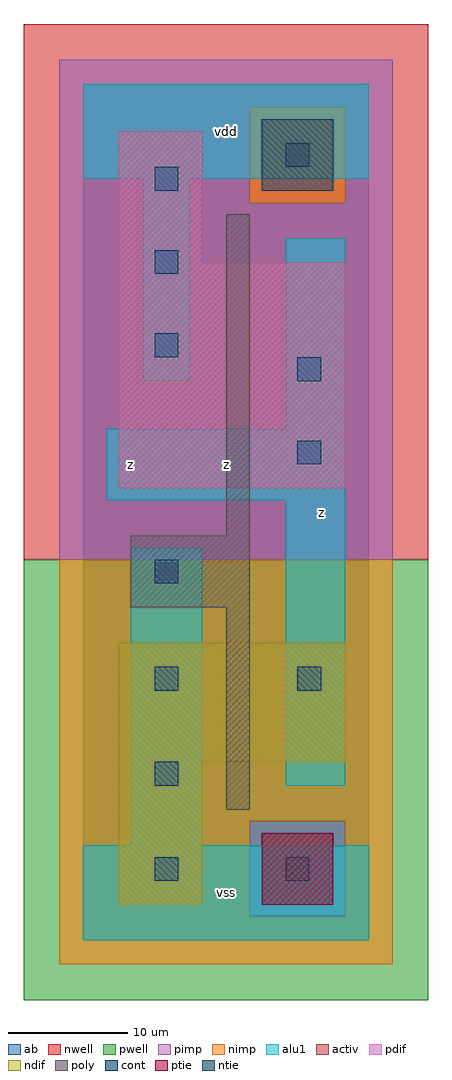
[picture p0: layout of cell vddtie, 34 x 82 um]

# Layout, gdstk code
import gdstk
lib = gdstk.Library(unit=1e-6, precision=1e-09)
def R(c, l, rs):  # rectangles x0, y0, x1, y1
    for r in rs: c.add(gdstk.rectangle(r[:2], r[2:], *l))
def A(c, l, x, y, w, h, nx, ny, dx, dy):  # array of equal rectangles
    R(c, l, [(x+i*dx, y+j*dy, x+i*dx+w, y+j*dy+h) for i in range(nx) for j in range(ny)])
ndif = (3, 0)
pdif = (4, 0)
ntie = (5, 0)
ptie = (6, 0)
cont = (25, 0)
pwell = (41, 0)
nwell = (42, 0)
activ = (43, 0)
pimp = (44, 0)
nimp = (45, 0)
poly = (46, 0)
alu1 = (49, 0)
ab = (63, 0)

vddtie = lib.new_cell('vddtie')
R(vddtie, ndif, [(3,3,10,15), (3,15,22,25)])
R(vddtie, pdif, [(3,38,22,57), (3,57,10,68)])
R(vddtie, ntie, [(15,63,21,69)])
R(vddtie, ptie, [(15,3,21,9)])
A(vddtie, cont, 6, 5, 2, 2, 1, 3, 0, 8)
A(vddtie, cont, 6, 49, 2, 2, 1, 3, 0, 7)
R(vddtie, cont, [(17,5,19,7), (18,21,20,23), (6,30,8,32), (18,40,20,42), (18,47,20,49), (17,65,19,67)])
R(vddtie, pwell, [(-5,-5,29,32)])
R(vddtie, nwell, [(-5,32,29,77)])
R(vddtie, activ, [(3,3,10,15), (15,3,21,9), (3,15,22,25), (3,38,22,57), (3,57,10,68), (15,63,21,69)])
R(vddtie, pimp, [(14,2,22,10), (-2,32,26,62), (-2,62,14,70), (22,62,26,70), (-2,70,26,74)])
R(vddtie, nimp, [(-2,-2,26,2), (-2,2,14,10), (22,2,26,10), (-2,10,26,32), (14,62,22,70)])
R(vddtie, poly, [(12,11,14,28), (4,28,14,34), (12,34,14,61)])
R(vddtie, alu1, [(0,0,24,8), (4,8,10,33), (17,13,22,37), (2,37,22,43), (17,43,22,59), (5,47,9,64), (0,64,24,72)])
R(vddtie, ab, [(0,0,24,72)])
vddtie.add(gdstk.Label('z', (4,40), layer=49, texttype=0))
vddtie.add(gdstk.Label('vss', (12,4), layer=49, texttype=0))
vddtie.add(gdstk.Label('z', (12,40), layer=49, texttype=0))
vddtie.add(gdstk.Label('vdd', (12,68), layer=49, texttype=0))
vddtie.add(gdstk.Label('z', (20,36), layer=49, texttype=0))

lib.write_gds('vddtie.gds')
